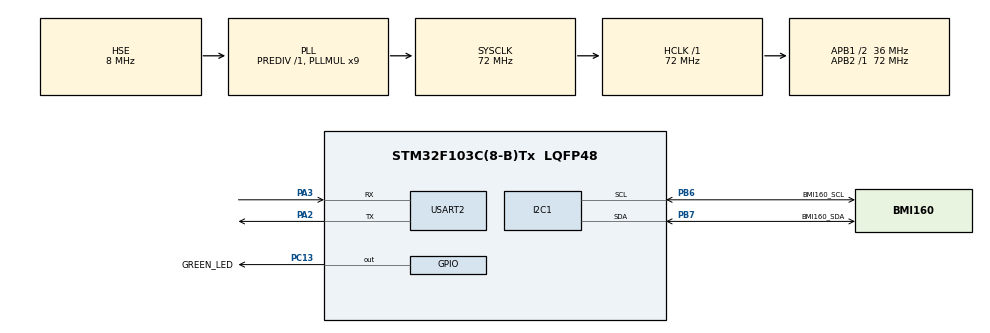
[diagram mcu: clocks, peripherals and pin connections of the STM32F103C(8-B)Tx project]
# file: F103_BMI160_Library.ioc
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I2C1.I2C_Mode=I2C_Standard
Mcu.Family=STM32F1
Mcu.Name=STM32F103C(8-B)Tx
Mcu.Package=LQFP48
NVIC.PriorityGroup=NVIC_PRIORITYGROUP_4
PA2.Mode=Asynchronous
PA2.Signal=USART2_TX
PA3.Mode=Asynchronous
PA3.Signal=USART2_RX
PB6.GPIO_Label=BMI160_SCL
PB6.Mode=I2C
PB6.Signal=I2C1_SCL
PB7.GPIO_Label=BMI160_SDA
PB7.Mode=I2C
PB7.Signal=I2C1_SDA
PC13-TAMPER-RTC.GPIO_Label=GREEN_LED
PC13-TAMPER-RTC.PinState=GPIO_PIN_SET
PC13-TAMPER-RTC.Signal=GPIO_Output
PD0-OSC_IN.GPIO_Label=OSC_IN
PD0-OSC_IN.Mode=HSE-External-Oscillator
PD0-OSC_IN.Signal=RCC_OSC_IN
PD1-OSC_OUT.GPIO_Label=OSC_OUT
PD1-OSC_OUT.Mode=HSE-External-Oscillator
PD1-OSC_OUT.Signal=RCC_OSC_OUT
ProjectManager.HeapSize=0x200
ProjectManager.StackSize=0x400
ProjectManager.TargetToolchain=STM32CubeIDE
RCC.AHBFreq_Value=72000000
RCC.APB1CLKDivider=RCC_HCLK_DIV2
RCC.APB1Freq_Value=36000000
RCC.APB1TimFreq_Value=72000000
RCC.APB2Freq_Value=72000000
RCC.APB2TimFreq_Value=72000000
RCC.HCLKFreq_Value=72000000
RCC.PLLMUL=RCC_PLL_MUL9
RCC.PLLSourceVirtual=RCC_PLLSOURCE_HSE
RCC.SYSCLKFreq_VALUE=72000000
RCC.SYSCLKSource=RCC_SYSCLKSOURCE_PLLCLK
RCC.USBFreq_Value=72000000
USART2.VirtualMode=VM_ASYNC
VP_SYS_VS_ND.Mode=No_Debug
board=custom

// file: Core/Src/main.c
/* USER CODE BEGIN Header */
/**
  ******************************************************************************
  * @file           : main.c
  * @brief          : Main program body
  ******************************************************************************
  * @attention
  *
  * Copyright (c) 2025 STMicroelectronics.
  * All rights reserved.
  *
  * This software is licensed under terms that can be found in the LICENSE file
  * in the root directory of this software component.
  * If no LICENSE file comes with this software, it is provided AS-IS.
  *
  ******************************************************************************
  */
/* USER CODE END Header */
#include "main.h"

/* USER CODE BEGIN Includes */
#include <stdio.h>
#include "bmi160.h"
#include "bmi160_defs.h"
#include "bmi160_port.h"
#include "MahonyAHRS.h"
/* USER CODE END Includes */

I2C_HandleTypeDef hi2c1;

UART_HandleTypeDef huart2;

void SystemClock_Config(void);
static void MX_GPIO_Init(void);
static void MX_I2C1_Init(void);
static void MX_USART2_UART_Init(void);

/* USER CODE BEGIN 0 */
static struct bmi160_dev bmi160 = {0};

/*! @brief variable to hold the bmi160 accel data */
struct bmi160_sensor_data bmi160_accel;

/*! @brief variable to hold the bmi160 gyro data */
struct bmi160_sensor_data bmi160_gyro;

int _write(int file, char *ptr, int len)
{
  HAL_UART_Transmit(&huart2,(uint8_t*)ptr,len,HAL_MAX_DELAY);
  return len;
}
/* USER CODE END 0 */

int main(void)
{

  /* MCU Configuration--------------------------------------------------------*/

  /* Reset of all peripherals, Initializes the Flash interface and the Systick. */
  HAL_Init();

  /* Configure the system clock */
  SystemClock_Config();

  /* Initialize all configured peripherals */
  MX_GPIO_Init();
  MX_I2C1_Init();
  MX_USART2_UART_Init();
  /* USER CODE BEGIN 2 */

  int8_t rslt;

  bmi160_soft_reset(&bmi160);

  HAL_GPIO_WritePin(GREEN_LED_GPIO_Port, GREEN_LED_Pin, 1U);
  HAL_Delay(200);

  bmi160.id = 0x68U;
  bmi160.intf = BMI160_I2C_INTF;
  bmi160.read = bmi160_read;
  bmi160.write = bmi160_write;
  bmi160.delay_ms = delay_ms;

  rslt = bmi160_init(&bmi160);

  if (rslt == BMI160_OK)
  {
      printf("BMI160 initialization success !\n");
      printf("Chip ID 0x%X\n", bmi160.chip_id);
  }
  else
  {
      printf("BMI160 initialization failure !\n");
  }

  /* Select the Output data rate, range of accelerometer sensor */
  bmi160.accel_cfg.odr = BMI160_ACCEL_ODR_1600HZ;
  bmi160.accel_cfg.range = BMI160_ACCEL_RANGE_16G;
  bmi160.accel_cfg.bw = BMI160_ACCEL_BW_NORMAL_AVG4;

  /* Select the power mode of accelerometer sensor */
  bmi160.accel_cfg.power = BMI160_ACCEL_NORMAL_MODE;

  /* Select the Output data rate, range of Gyroscope sensor */
  bmi160.gyro_cfg.odr = BMI160_GYRO_ODR_3200HZ;
  bmi160.gyro_cfg.range = BMI160_GYRO_RANGE_2000_DPS;
  bmi160.gyro_cfg.bw = BMI160_GYRO_BW_NORMAL_MODE;

  /* Select the power mode of Gyroscope sensor */
  bmi160.gyro_cfg.power = BMI160_GYRO_NORMAL_MODE;

  /* Set the sensor configuration */
  rslt = bmi160_set_power_mode(&bmi160);

  if(rslt == BMI160_OK)
  {
	  printf("BMI160 set sens OK\n");
  }
  else
  {
      printf("BMI160 set sens ERROR\n");
  }

  double pitch=0,yaw=0,roll=0;
  /* USER CODE END 2 */

  /* Infinite loop */
  while (1)
  {

    /* USER CODE BEGIN 3 */

      /* To read both Accel and Gyro data */
	  rslt = bmi160_get_sensor_data((BMI160_ACCEL_SEL | BMI160_GYRO_SEL), &bmi160_accel, &bmi160_gyro, &bmi160);

	  if(rslt == BMI160_OK)
	  {
		  MahonyAHRSupdateIMU( (float)bmi160_gyro.x/(float)16.4, (float)bmi160_gyro.y/(float)16.4, (float)bmi160_gyro.z/(float)16.4,\
				  (float)bmi160_accel.x, (float)bmi160_accel.y, (float)bmi160_accel.z);

	  }

	  yaw = atan2((2*q1*q2-2*q0*q3),(2*pow(q0,2)+2*pow(q1,2)-1));
	  roll = -asin(((2*q1*q3) + (2*q0*q2)));
	  pitch = atan2((2*q2*q3-2*q0*q1),(2*pow(q0,2)+2*pow(q3,2)-1));
	  printf("%f %f %f\n",yaw,roll,pitch);
      HAL_Delay(50);
  }
  /* USER CODE END 3 */
}

void SystemClock_Config(void)
{
  RCC_OscInitTypeDef RCC_OscInitStruct = {0};
  RCC_ClkInitTypeDef RCC_ClkInitStruct = {0};

  /** Initializes the RCC Oscillators according to the specified parameters
  * in the RCC_OscInitTypeDef structure.
  */
  RCC_OscInitStruct.OscillatorType = RCC_OSCILLATORTYPE_HSE;
  RCC_OscInitStruct.HSEState = RCC_HSE_ON;
  RCC_OscInitStruct.HSEPredivValue = RCC_HSE_PREDIV_DIV1;
  RCC_OscInitStruct.HSIState = RCC_HSI_ON;
  RCC_OscInitStruct.PLL.PLLState = RCC_PLL_ON;
  RCC_OscInitStruct.PLL.PLLSource = RCC_PLLSOURCE_HSE;
  RCC_OscInitStruct.PLL.PLLMUL = RCC_PLL_MUL9;
  if (HAL_RCC_OscConfig(&RCC_OscInitStruct) != HAL_OK)
  {
    Error_Handler();
  }

  /** Initializes the CPU, AHB and APB buses clocks
  */
  RCC_ClkInitStruct.ClockType = RCC_CLOCKTYPE_HCLK|RCC_CLOCKTYPE_SYSCLK
                              |RCC_CLOCKTYPE_PCLK1|RCC_CLOCKTYPE_PCLK2;
  RCC_ClkInitStruct.SYSCLKSource = RCC_SYSCLKSOURCE_PLLCLK;
  RCC_ClkInitStruct.AHBCLKDivider = RCC_SYSCLK_DIV1;
  RCC_ClkInitStruct.APB1CLKDivider = RCC_HCLK_DIV2;
  RCC_ClkInitStruct.APB2CLKDivider = RCC_HCLK_DIV1;

  if (HAL_RCC_ClockConfig(&RCC_ClkInitStruct, FLASH_LATENCY_2) != HAL_OK)
  {
    Error_Handler();
  }
}

static void MX_I2C1_Init(void)
{

  hi2c1.Instance = I2C1;
  hi2c1.Init.ClockSpeed = 100000;
  hi2c1.Init.DutyCycle = I2C_DUTYCYCLE_2;
  hi2c1.Init.OwnAddress1 = 0;
  hi2c1.Init.AddressingMode = I2C_ADDRESSINGMODE_7BIT;
  hi2c1.Init.DualAddressMode = I2C_DUALADDRESS_DISABLE;
  hi2c1.Init.OwnAddress2 = 0;
  hi2c1.Init.GeneralCallMode = I2C_GENERALCALL_DISABLE;
  hi2c1.Init.NoStretchMode = I2C_NOSTRETCH_DISABLE;
  if (HAL_I2C_Init(&hi2c1) != HAL_OK)
  {
    Error_Handler();
  }

}

static void MX_USART2_UART_Init(void)
{

  huart2.Instance = USART2;
  huart2.Init.BaudRate = 115200;
  huart2.Init.WordLength = UART_WORDLENGTH_8B;
  huart2.Init.StopBits = UART_STOPBITS_1;
  huart2.Init.Parity = UART_PARITY_NONE;
  huart2.Init.Mode = UART_MODE_TX_RX;
  huart2.Init.HwFlowCtl = UART_HWCONTROL_NONE;
  huart2.Init.OverSampling = UART_OVERSAMPLING_16;
  if (HAL_UART_Init(&huart2) != HAL_OK)
  {
    Error_Handler();
  }

}

static void MX_GPIO_Init(void)
{
  GPIO_InitTypeDef GPIO_InitStruct = {0};

  /* GPIO Ports Clock Enable */
  __HAL_RCC_GPIOC_CLK_ENABLE();
  __HAL_RCC_GPIOD_CLK_ENABLE();
  __HAL_RCC_GPIOA_CLK_ENABLE();
  __HAL_RCC_GPIOB_CLK_ENABLE();

  /*Configure GPIO pin Output Level */
  HAL_GPIO_WritePin(GREEN_LED_GPIO_Port, GREEN_LED_Pin, GPIO_PIN_SET);

  /*Configure GPIO pin : GREEN_LED_Pin */
  GPIO_InitStruct.Pin = GREEN_LED_Pin;
  GPIO_InitStruct.Mode = GPIO_MODE_OUTPUT_PP;
  GPIO_InitStruct.Pull = GPIO_NOPULL;
  GPIO_InitStruct.Speed = GPIO_SPEED_FREQ_LOW;
  HAL_GPIO_Init(GREEN_LED_GPIO_Port, &GPIO_InitStruct);

}

void Error_Handler(void)
{
  /* USER CODE BEGIN Error_Handler_Debug */
  /* User can add his own implementation to report the HAL error return state */
  __disable_irq();
  while (1)
  {
	  printf("error handler\n");
	  HAL_Delay(1000);
  }
  /* USER CODE END Error_Handler_Debug */
}
